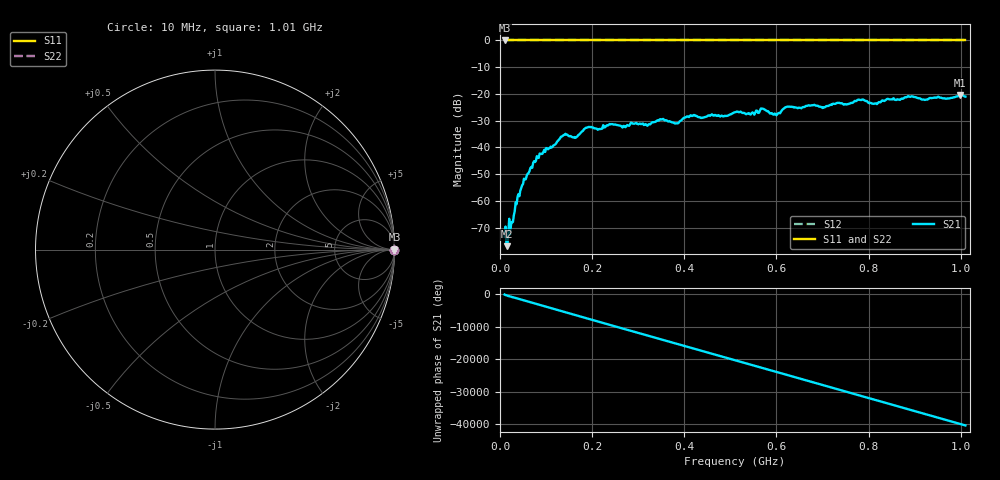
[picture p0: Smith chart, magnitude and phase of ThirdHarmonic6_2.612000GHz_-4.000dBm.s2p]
! 8/17/2025 5:43:22 AM
! C:\ANRITSUVNA\TEMP\TEMP.S2P
! CHANNEL.1
! TR.MEASUREMENT
! RAW.DATA
! RF.CORRECTION.OFF
! AVERAGING.OFF
! IF.BANDWIDTH: 5KHZ
! SWEEPTYPE:  FREQ.SWEEP(Linear)
! Reference Plane Port Info
! PORT:  PORT1  PORT2
! DISTANCE:  0  m  0  m
! TIME:  0  s  0  s
! PHASE.OFFSET:  0  deg.  0  deg.
! LOSS:  0  dB  0  dB
! REF.LOSS:  0  dB  0  dB
! REF.FREQ:  0  Hz  0  Hz
! Power Info
! POWER:  -20  dBm  -20  dBm
! EFF.POWER:  -20  dBm  -20  dBm
! SOURCE.ATTEN:  0  dB  0  dB
! TEST.ATTEN:  0  dB  0  dB
# GHZ S RI R 50.0
! FREQ.GHZ  S11RE  S11IM  S21RE  S21IM  S12RE  S12IM  S22RE  S22IM
!; PortSelection: Port_12
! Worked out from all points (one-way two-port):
!   501 points, 10 MHz to 1.01 GHz, reference 50 ohm
!   highest |S21| = -20.37 dB at 998 MHz (marker M1); lowest = -76.9 dB at 16 MHz (marker M2)
!   lowest |S11| = 0.0 dB at 10 MHz (marker M3)
!   |S11| at or under -10 dB: nowhere
!   |S22| runs from 0.0 to 0.0 dB; largest |S21 - S12| = 1.1
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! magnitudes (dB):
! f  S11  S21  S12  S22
! 10 MHz  0.0  -73.4  0.0  0.0
! 16 MHz  0.0  -76.9  0.0  0.0
! 18 MHz  0.0  -72.2  0.0  0.0
! 26 MHz  0.0  -67.8  0.0  0.0
! 36 MHz  0.0  -61.2  0.0  0.0
! 48 MHz  0.0  -54.1  0.0  0.0
! 76 MHz  0.0  -45.4  0.0  0.0
! 138 MHz  0.0  -35.4  0.0  0.0
! 162 MHz  0.0  -36.1  0.0  0.0
! 178 MHz  0.0  -34.0  0.0  0.0
! 344 MHz  0.0  -30.0  0.0  0.0
! 384 MHz  0.0  -31.0  0.0  0.0
! 418 MHz  0.0  -28.2  0.0  0.0
! 510 MHz  0.0  -26.8  0.0  0.0
! 548 MHz  0.0  -26.9  0.0  0.0
! 570 MHz  0.0  -25.5  0.0  0.0
! 598 MHz  0.0  -27.6  0.0  0.0
! 622 MHz  0.0  -24.9  0.0  0.0
! 678 MHz  0.0  -24.2  0.0  0.0
! 844 MHz  0.0  -22.0  0.0  0.0
! 998 MHz  0.0  -20.4  0.0  0.0
! 1.01 GHz  0.0  -21.0  0.0  0.0
